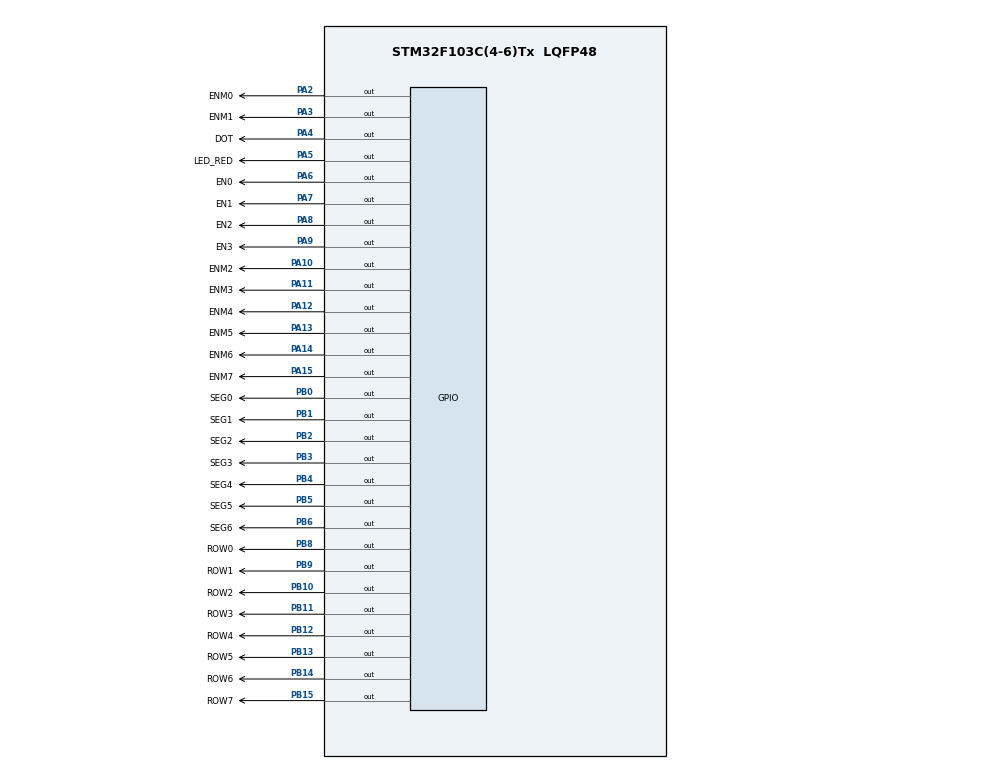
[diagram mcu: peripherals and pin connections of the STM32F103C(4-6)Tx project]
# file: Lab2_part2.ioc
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Mcu.Family=STM32F1
Mcu.Name=STM32F103C(4-6)Tx
Mcu.Package=LQFP48
NVIC.PriorityGroup=NVIC_PRIORITYGROUP_4
NVIC.TIM2_IRQn=true\:0\:0\:false\:false\:true\:true\:true
PA10.GPIO_Label=ENM2
PA10.Signal=GPIO_Output
PA11.GPIO_Label=ENM3
PA11.Signal=GPIO_Output
PA12.GPIO_Label=ENM4
PA12.Signal=GPIO_Output
PA13.GPIO_Label=ENM5
PA13.Signal=GPIO_Output
PA14.GPIO_Label=ENM6
PA14.Signal=GPIO_Output
PA15.GPIO_Label=ENM7
PA15.Signal=GPIO_Output
PA2.GPIO_Label=ENM0
PA2.Signal=GPIO_Output
PA3.GPIO_Label=ENM1
PA3.Signal=GPIO_Output
PA4.GPIO_Label=DOT
PA4.Signal=GPIO_Output
PA5.GPIO_Label=LED_RED
PA5.Signal=GPIO_Output
PA6.GPIO_Label=EN0
PA6.Signal=GPIO_Output
PA7.GPIO_Label=EN1
PA7.Signal=GPIO_Output
PA8.GPIO_Label=EN2
PA8.Signal=GPIO_Output
PA9.GPIO_Label=EN3
PA9.Signal=GPIO_Output
PB0.GPIO_Label=SEG0
PB0.Signal=GPIO_Output
PB1.GPIO_Label=SEG1
PB1.Signal=GPIO_Output
PB10.GPIO_Label=ROW2
PB10.Signal=GPIO_Output
PB11.GPIO_Label=ROW3
PB11.Signal=GPIO_Output
PB12.GPIO_Label=ROW4
PB12.Signal=GPIO_Output
PB13.GPIO_Label=ROW5
PB13.Signal=GPIO_Output
PB14.GPIO_Label=ROW6
PB14.Signal=GPIO_Output
PB15.GPIO_Label=ROW7
PB15.Signal=GPIO_Output
PB2.GPIO_Label=SEG2
PB2.Signal=GPIO_Output
PB3.GPIO_Label=SEG3
PB3.Signal=GPIO_Output
PB4.GPIO_Label=SEG4
PB4.Signal=GPIO_Output
PB5.GPIO_Label=SEG5
PB5.Signal=GPIO_Output
PB6.GPIO_Label=SEG6
PB6.Signal=GPIO_Output
PB8.GPIO_Label=ROW0
PB8.Signal=GPIO_Output
PB9.GPIO_Label=ROW1
PB9.Signal=GPIO_Output
ProjectManager.HeapSize=0x200
ProjectManager.StackSize=0x400
ProjectManager.TargetToolchain=STM32CubeIDE
RCC.APB1Freq_Value=8000000
RCC.APB2Freq_Value=8000000
TIM2.Period=9
TIM2.Prescaler=7999
VP_SYS_VS_ND.Mode=No_Debug
VP_TIM2_VS_ClockSourceINT.Mode=Internal
board=custom

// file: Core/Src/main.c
/* USER CODE BEGIN Header */
/**
  ******************************************************************************
  * @file           : main.c
  * @brief          : Main program body
  ******************************************************************************
  * @attention
  *
  * <h2><center>&copy; Copyright (c) 2026 STMicroelectronics.
  * All rights reserved.</center></h2>
  *
  * This software component is licensed by ST under BSD 3-Clause license,
  * the "License"; You may not use this file except in compliance with the
  * License. You may obtain a copy of the License at:
  *                        opensource.org/licenses/BSD-3-Clause
  *
  ******************************************************************************
  */
/* USER CODE END Header */
#include "main.h"

/* USER CODE BEGIN PD */
/* ===== Chọn bài demo: 9 (chữ "A" đứng yên) hoặc 10 (chữ "A" dịch trái) ===== */
#define EXERCISE          10

#define TIMER_CYCLE       10    // TIM2: 8MHz/(7999+1)/(9+1) = 100Hz -> ngắt mỗi 10ms
#define NUM_TIMERS        6     // số software timer

/* Chỉ số software timer */
#define T_CLOCK           0     // 1000ms: đếm giây + nháy DOT (Ex7)
#define T_SCAN_7SEG       1     // quét 7-seg (Ex8)
#define T_SCAN_MATRIX     2     // quét LED matrix (Ex9)
#define T_SHIFT           3     // dịch chữ (Ex10)
#define T_LED_RED         4     // ví dụ Program 1.8 (Ex6)
#define T_SELFTEST        5     // chế độ dò phân cực matrix

#define SCAN_7SEG_MS      250   // 4 LED x 250ms = 1s -> quét 1Hz như Ex4
#define SCAN_MATRIX_MS    10    // mỗi cột 10ms -> 8 cột = 80ms/khung (đổi thành 200 để xem từng cột sáng lần lượt)
#define SHIFT_MS          200   // Ex10: dịch 1 cột mỗi 200ms

/* ===== CHẾ ĐỘ DÒ PHÂN CỰC MATRIX =====
 * 1: cứ 5 giây đổi 1 tổ hợp phân cực; cả 4 con 7-seg hiện SỐ THỨ TỰ tổ hợp (1..4),
 *    matrix hiện chữ "A" đứng yên. Ghi lại số nào cho ra chữ "A" rõ nhất.
 * 0: chạy bình thường theo cấu hình bên dưới. */
#define MATRIX_SELFTEST   0

/* ===== Cấu hình phân cực LED matrix: chỉnh ở đây nếu hiển thị sai ===== */
#define MATRIX_COL_ON       GPIO_PIN_SET    // ENM mức cao -> ULN2803 dẫn -> kéo chân cột (cathode) xuống thấp -> cột BẬT
#define MATRIX_ROW_ON       GPIO_PIN_SET    // ROW mức cao -> cấp anode -> LED trên hàng đó sáng
#define MATRIX_TRANSPOSE    0               // 1 nếu chữ "A" bị nằm ngang (xoay 90 độ)
#define MATRIX_LINE_REVERSE 0               // 1 nếu chữ "A" bị lộn ngược (đảo thứ tự đường quét ENM)
#define MATRIX_ROW_REVERSE  0               // 1 nếu chữ "A" bị soi gương / chạy sang PHẢI (đảo thứ tự bit dữ liệu)
/* USER CODE END PD */

TIM_HandleTypeDef htim2;

/* USER CODE BEGIN PV */
/* ---------- Software timer (Ex6) ---------- */
volatile int timer_counter[NUM_TIMERS] = {0};
volatile int timer_flag[NUM_TIMERS]    = {0};

/* ---------- 4 LED 7 đoạn + đồng hồ (Ex3, Ex5, Ex7, Ex8) ---------- */
const int MAX_LED = 4;
int index_led = 0;
int led_buffer[4] = {1, 2, 3, 4};
int hour = 15, minute = 8, second = 50;

static GPIO_TypeDef* const SEG_PORT[7] = {SEG0_GPIO_Port, SEG1_GPIO_Port, SEG2_GPIO_Port,
                                          SEG3_GPIO_Port, SEG4_GPIO_Port, SEG5_GPIO_Port, SEG6_GPIO_Port};
static const uint16_t SEG_PIN[7] = {SEG0_Pin, SEG1_Pin, SEG2_Pin, SEG3_Pin, SEG4_Pin, SEG5_Pin, SEG6_Pin};
static GPIO_TypeDef* const EN_PORT[4] = {EN0_GPIO_Port, EN1_GPIO_Port, EN2_GPIO_Port, EN3_GPIO_Port};
static const uint16_t EN_PIN[4] = {EN0_Pin, EN1_Pin, EN2_Pin, EN3_Pin};

/* Mã 7 đoạn: bit0 = a ... bit6 = g, bit = 1 nghĩa là đoạn sáng */
static const uint8_t SEG_CODE[10] = {0x3F, 0x06, 0x5B, 0x4F, 0x66, 0x6D, 0x7D, 0x07, 0x7F, 0x6F};

/* ---------- LED matrix 8x8 (Ex9, Ex10) ---------- */
const int MAX_LED_MATRIX = 8;
GPIO_PinState matrix_col_on = MATRIX_COL_ON;   // mức bật đường quét (ENM)
GPIO_PinState matrix_row_on = MATRIX_ROW_ON;   // mức làm LED sáng (ROW)
int selftest_combo = 0;                        // 0..3 -> hiển thị 1..4
int index_led_matrix = 0;

/* matrix_buffer[c] = dữ liệu cột c (trái -> phải); bit r = hàng r (bit0 = hàng trên cùng)
 *
 *   . . . # # . . .
 *   . . # . . # . .
 *   . # . . . . # .
 *   . # . . . . # .
 *   . # # # # # # .
 *   . # . . . . # .
 *   . # . . . . # .
 *   . . . . . . . .
 */
uint8_t matrix_buffer[8] = {0x00, 0x7C, 0x12, 0x11, 0x11, 0x12, 0x7C, 0x00};

/* Ex10: khung hình 16 cột = chữ "A" + 8 cột trống, cửa sổ 8 cột trượt sang trái */
static const uint8_t anim_frame[16] = {0x00, 0x7C, 0x12, 0x11, 0x11, 0x12, 0x7C, 0x00,
                                       0x00, 0x00, 0x00, 0x00, 0x00, 0x00, 0x00, 0x00};
int anim_offset = 0;

static GPIO_TypeDef* const ENM_PORT[8] = {ENM0_GPIO_Port, ENM1_GPIO_Port, ENM2_GPIO_Port, ENM3_GPIO_Port,
                                          ENM4_GPIO_Port, ENM5_GPIO_Port, ENM6_GPIO_Port, ENM7_GPIO_Port};
static const uint16_t ENM_PIN[8] = {ENM0_Pin, ENM1_Pin, ENM2_Pin, ENM3_Pin,
                                    ENM4_Pin, ENM5_Pin, ENM6_Pin, ENM7_Pin};
static GPIO_TypeDef* const ROW_PORT[8] = {ROW0_GPIO_Port, ROW1_GPIO_Port, ROW2_GPIO_Port, ROW3_GPIO_Port,
                                          ROW4_GPIO_Port, ROW5_GPIO_Port, ROW6_GPIO_Port, ROW7_GPIO_Port};
static const uint16_t ROW_PIN[8] = {ROW0_Pin, ROW1_Pin, ROW2_Pin, ROW3_Pin,
                                    ROW4_Pin, ROW5_Pin, ROW6_Pin, ROW7_Pin};
/* USER CODE END PV */

void SystemClock_Config(void);
static void MX_GPIO_Init(void);
static void MX_TIM2_Init(void);

/* USER CODE BEGIN 0 */
/* ================= Software timer (Ex6) ================= */
void setTimer(int id, int duration) {
  timer_counter[id] = duration / TIMER_CYCLE;
  timer_flag[id] = 0;
}

/* Gọi trong ngắt mỗi TIMER_CYCLE ms: chỉ đếm, không xử lý gì nặng */
void timer_run(void) {
  for (int i = 0; i < NUM_TIMERS; i++) {
    if (timer_counter[i] > 0) {
      timer_counter[i]--;
      if (timer_counter[i] == 0) timer_flag[i] = 1;
    }
  }
}

/* ================= 7 đoạn ================= */
/* Common anode: đoạn sáng khi chân SEG ở mức THẤP */
void display7SEG(int num) {
  if (num < 0 || num > 9) num = 0;
  uint8_t code = SEG_CODE[num];
  for (int i = 0; i < 7; i++) {
    HAL_GPIO_WritePin(SEG_PORT[i], SEG_PIN[i],
                      ((code >> i) & 1) ? GPIO_PIN_RESET : GPIO_PIN_SET);
  }
}

static void disableAll7SEG(void) {
  for (int i = 0; i < 4; i++) {
    HAL_GPIO_WritePin(EN_PORT[i], EN_PIN[i], GPIO_PIN_SET);  // PNP tắt khi EN ở mức CAO
  }
}

void update7SEG(int index) {
  disableAll7SEG();
  switch (index) {
    case 0:
      display7SEG(led_buffer[0]);
      HAL_GPIO_WritePin(EN0_GPIO_Port, EN0_Pin, GPIO_PIN_RESET);
      break;
    case 1:
      display7SEG(led_buffer[1]);
      HAL_GPIO_WritePin(EN1_GPIO_Port, EN1_Pin, GPIO_PIN_RESET);
      break;
    case 2:
      display7SEG(led_buffer[2]);
      HAL_GPIO_WritePin(EN2_GPIO_Port, EN2_Pin, GPIO_PIN_RESET);
      break;
    case 3:
      display7SEG(led_buffer[3]);
      HAL_GPIO_WritePin(EN3_GPIO_Port, EN3_Pin, GPIO_PIN_RESET);
      break;
    default:
      break;
  }
}

void updateClockBuffer(void) {
  led_buffer[0] = hour / 10;
  led_buffer[1] = hour % 10;
  led_buffer[2] = minute / 10;
  led_buffer[3] = minute % 10;
}

/* ================= LED matrix (Ex9) ================= */
static void matrixAllOff(void) {
  GPIO_PinState colOff = (matrix_col_on == GPIO_PIN_SET) ? GPIO_PIN_RESET : GPIO_PIN_SET;
  for (int i = 0; i < 8; i++) {
    HAL_GPIO_WritePin(ENM_PORT[i], ENM_PIN[i], colOff);
  }
}

/* Dữ liệu cho đường quét thứ k (có hỗ trợ xoay 90 độ nếu matrix nối ngược hàng/cột) */
static uint8_t getLineData(int k) {
#if MATRIX_TRANSPOSE
  uint8_t d = 0;
  for (int j = 0; j < 8; j++) {
    if ((matrix_buffer[j] >> k) & 1) d |= (uint8_t)(1 << j);
  }
  return d;
#else
  return matrix_buffer[k];
#endif
}

/* Bật duy nhất cột index, xuất dữ liệu cột đó ra 8 đường ROW */
void updateLEDMatrix(int index) {
  if (index < 0 || index >= MAX_LED_MATRIX) return;
  GPIO_PinState rowOff = (matrix_row_on == GPIO_PIN_SET) ? GPIO_PIN_RESET : GPIO_PIN_SET;

  int line = MATRIX_LINE_REVERSE ? (7 - index) : index;  // đường ENM thật sẽ bật

  matrixAllOff();                       // 1. tắt hết đường quét để không bị bóng mờ
  uint8_t data = getLineData(index);
  for (int r = 0; r < 8; r++) {         // 2. xuất dữ liệu ra 8 đường ROW
    int pin = MATRIX_ROW_REVERSE ? (7 - r) : r;
    HAL_GPIO_WritePin(ROW_PORT[pin], ROW_PIN[pin], ((data >> r) & 1) ? matrix_row_on : rowOff);
  }
  HAL_GPIO_WritePin(ENM_PORT[line], ENM_PIN[line], matrix_col_on);    // 3. bật đường quét
}

/* ================= Animation (Ex10) ================= */
/* Cửa sổ 8 cột trượt trên khung 16 cột -> chữ "A" chạy sang trái rồi quay vòng */
void shiftLeftAnimation(void) {
  for (int i = 0; i < 8; i++) {
    matrix_buffer[i] = anim_frame[(i + anim_offset) % 16];
  }
  anim_offset = (anim_offset + 1) % 16;
}

/* ================= Dò phân cực matrix ================= */
/* Tổ hợp: 1 = ENM thấp/ROW thấp, 2 = ENM cao/ROW cao, 3 = ENM thấp/ROW cao, 4 = ENM cao/ROW thấp */
void applySelftestCombo(int combo) {
  static const GPIO_PinState COL[4] = {GPIO_PIN_RESET, GPIO_PIN_SET, GPIO_PIN_RESET, GPIO_PIN_SET};
  static const GPIO_PinState ROW[4] = {GPIO_PIN_RESET, GPIO_PIN_SET, GPIO_PIN_SET,   GPIO_PIN_RESET};
  matrix_col_on = COL[combo];
  matrix_row_on = ROW[combo];
  for (int i = 0; i < 4; i++) led_buffer[i] = combo + 1;
}
/* USER CODE END 0 */

int main(void)
{

  /* MCU Configuration--------------------------------------------------------*/

  /* Reset of all peripherals, Initializes the Flash interface and the Systick. */
  HAL_Init();

  /* Configure the system clock */
  SystemClock_Config();

  /* Initialize all configured peripherals */
  MX_GPIO_Init();
  MX_TIM2_Init();
  /* USER CODE BEGIN 2 */
  disableAll7SEG();
#if MATRIX_SELFTEST
  applySelftestCombo(0);
  setTimer(T_SELFTEST, 5000);
#else
  updateClockBuffer();
#if EXERCISE == 10
  shiftLeftAnimation();
#endif
#endif
  matrixAllOff();

  setTimer(T_CLOCK, 1000);
  setTimer(T_SCAN_7SEG, SCAN_7SEG_MS);
  setTimer(T_SCAN_MATRIX, SCAN_MATRIX_MS);
  setTimer(T_SHIFT, SHIFT_MS);
  setTimer(T_LED_RED, 1000);             // Program 1.8 (Ex6)

  HAL_TIM_Base_Start_IT(&htim2);
  /* USER CODE END 2 */

  /* Infinite loop */
  while (1)
  {

    /* USER CODE BEGIN 3 */
    /* Ex7: đồng hồ + DOT chạy bằng software timer, không còn HAL_Delay */
    if (timer_flag[T_CLOCK] == 1) {
      setTimer(T_CLOCK, 1000);
      second++;
      if (second >= 60) { second = 0; minute++; }
      if (minute >= 60) { minute = 0; hour++; }
      if (hour >= 24)   { hour = 0; }
#if !MATRIX_SELFTEST
      updateClockBuffer();
#endif
      HAL_GPIO_TogglePin(DOT_GPIO_Port, DOT_Pin);
    }

    /* Ex8: quét 7-seg chuyển từ ngắt về main */
    if (timer_flag[T_SCAN_7SEG] == 1) {
      setTimer(T_SCAN_7SEG, SCAN_7SEG_MS);
      update7SEG(index_led++);
      if (index_led >= MAX_LED) index_led = 0;
    }

    /* Ex9: quét LED matrix trong main */
    if (timer_flag[T_SCAN_MATRIX] == 1) {
      setTimer(T_SCAN_MATRIX, SCAN_MATRIX_MS);
      updateLEDMatrix(index_led_matrix++);
      if (index_led_matrix >= MAX_LED_MATRIX) index_led_matrix = 0;
    }

#if MATRIX_SELFTEST
    if (timer_flag[T_SELFTEST] == 1) {
      setTimer(T_SELFTEST, 5000);
      selftest_combo = (selftest_combo + 1) % 4;
      matrixAllOff();                       // tắt theo phân cực cũ trước khi đổi
      applySelftestCombo(selftest_combo);
    }
#elif EXERCISE == 10
    /* Ex10: dịch chữ sang trái */
    if (timer_flag[T_SHIFT] == 1) {
      setTimer(T_SHIFT, SHIFT_MS);
      shiftLeftAnimation();
    }
#endif

    /* Ex6: ví dụ Program 1.8 - LED đỏ PA5 */
    if (timer_flag[T_LED_RED] == 1) {
      HAL_GPIO_TogglePin(LED_RED_GPIO_Port, LED_RED_Pin);
      setTimer(T_LED_RED, 2000);
    }
  }
  /* USER CODE END 3 */
}

void SystemClock_Config(void)
{
  RCC_OscInitTypeDef RCC_OscInitStruct = {0};
  RCC_ClkInitTypeDef RCC_ClkInitStruct = {0};

  /** Initializes the RCC Oscillators according to the specified parameters
  * in the RCC_OscInitTypeDef structure.
  */
  RCC_OscInitStruct.OscillatorType = RCC_OSCILLATORTYPE_HSI;
  RCC_OscInitStruct.HSIState = RCC_HSI_ON;
  RCC_OscInitStruct.HSICalibrationValue = RCC_HSICALIBRATION_DEFAULT;
  RCC_OscInitStruct.PLL.PLLState = RCC_PLL_NONE;
  if (HAL_RCC_OscConfig(&RCC_OscInitStruct) != HAL_OK)
  {
    Error_Handler();
  }
  /** Initializes the CPU, AHB and APB buses clocks
  */
  RCC_ClkInitStruct.ClockType = RCC_CLOCKTYPE_HCLK|RCC_CLOCKTYPE_SYSCLK
                              |RCC_CLOCKTYPE_PCLK1|RCC_CLOCKTYPE_PCLK2;
  RCC_ClkInitStruct.SYSCLKSource = RCC_SYSCLKSOURCE_HSI;
  RCC_ClkInitStruct.AHBCLKDivider = RCC_SYSCLK_DIV1;
  RCC_ClkInitStruct.APB1CLKDivider = RCC_HCLK_DIV1;
  RCC_ClkInitStruct.APB2CLKDivider = RCC_HCLK_DIV1;

  if (HAL_RCC_ClockConfig(&RCC_ClkInitStruct, FLASH_LATENCY_0) != HAL_OK)
  {
    Error_Handler();
  }
}

static void MX_TIM2_Init(void)
{

  TIM_ClockConfigTypeDef sClockSourceConfig = {0};
  TIM_MasterConfigTypeDef sMasterConfig = {0};

  htim2.Instance = TIM2;
  htim2.Init.Prescaler = 7999;
  htim2.Init.CounterMode = TIM_COUNTERMODE_UP;
  htim2.Init.Period = 9;
  htim2.Init.ClockDivision = TIM_CLOCKDIVISION_DIV1;
  htim2.Init.AutoReloadPreload = TIM_AUTORELOAD_PRELOAD_DISABLE;
  if (HAL_TIM_Base_Init(&htim2) != HAL_OK)
  {
    Error_Handler();
  }
  sClockSourceConfig.ClockSource = TIM_CLOCKSOURCE_INTERNAL;
  if (HAL_TIM_ConfigClockSource(&htim2, &sClockSourceConfig) != HAL_OK)
  {
    Error_Handler();
  }
  sMasterConfig.MasterOutputTrigger = TIM_TRGO_RESET;
  sMasterConfig.MasterSlaveMode = TIM_MASTERSLAVEMODE_DISABLE;
  if (HAL_TIMEx_MasterConfigSynchronization(&htim2, &sMasterConfig) != HAL_OK)
  {
    Error_Handler();
  }

}

static void MX_GPIO_Init(void)
{
  GPIO_InitTypeDef GPIO_InitStruct = {0};

  /* GPIO Ports Clock Enable */
  __HAL_RCC_GPIOA_CLK_ENABLE();
  __HAL_RCC_GPIOB_CLK_ENABLE();

  /*Configure GPIO pin Output Level */
  HAL_GPIO_WritePin(GPIOA, ENM0_Pin|ENM1_Pin|DOT_Pin|LED_RED_Pin
                          |EN0_Pin|EN1_Pin|EN2_Pin|EN3_Pin
                          |ENM2_Pin|ENM3_Pin|ENM4_Pin|ENM5_Pin
                          |ENM6_Pin|ENM7_Pin, GPIO_PIN_RESET);

  /*Configure GPIO pin Output Level */
  HAL_GPIO_WritePin(GPIOB, SEG0_Pin|SEG1_Pin|SEG2_Pin|ROW2_Pin
                          |ROW3_Pin|ROW4_Pin|ROW5_Pin|ROW6_Pin
                          |ROW7_Pin|SEG3_Pin|SEG4_Pin|SEG5_Pin
                          |SEG6_Pin|ROW0_Pin|ROW1_Pin, GPIO_PIN_RESET);

  /*Configure GPIO pins : ENM0_Pin ENM1_Pin DOT_Pin LED_RED_Pin
                           EN0_Pin EN1_Pin EN2_Pin EN3_Pin
                           ENM2_Pin ENM3_Pin ENM4_Pin ENM5_Pin
                           ENM6_Pin ENM7_Pin */
  GPIO_InitStruct.Pin = ENM0_Pin|ENM1_Pin|DOT_Pin|LED_RED_Pin
                          |EN0_Pin|EN1_Pin|EN2_Pin|EN3_Pin
                          |ENM2_Pin|ENM3_Pin|ENM4_Pin|ENM5_Pin
                          |ENM6_Pin|ENM7_Pin;
  GPIO_InitStruct.Mode = GPIO_MODE_OUTPUT_PP;
  GPIO_InitStruct.Pull = GPIO_NOPULL;
  GPIO_InitStruct.Speed = GPIO_SPEED_FREQ_LOW;
  HAL_GPIO_Init(GPIOA, &GPIO_InitStruct);

  /*Configure GPIO pins : SEG0_Pin SEG1_Pin SEG2_Pin ROW2_Pin
                           ROW3_Pin ROW4_Pin ROW5_Pin ROW6_Pin
                           ROW7_Pin SEG3_Pin SEG4_Pin SEG5_Pin
                           SEG6_Pin ROW0_Pin ROW1_Pin */
  GPIO_InitStruct.Pin = SEG0_Pin|SEG1_Pin|SEG2_Pin|ROW2_Pin
                          |ROW3_Pin|ROW4_Pin|ROW5_Pin|ROW6_Pin
                          |ROW7_Pin|SEG3_Pin|SEG4_Pin|SEG5_Pin
                          |SEG6_Pin|ROW0_Pin|ROW1_Pin;
  GPIO_InitStruct.Mode = GPIO_MODE_OUTPUT_PP;
  GPIO_InitStruct.Pull = GPIO_NOPULL;
  GPIO_InitStruct.Speed = GPIO_SPEED_FREQ_LOW;
  HAL_GPIO_Init(GPIOB, &GPIO_InitStruct);

}

/* USER CODE BEGIN 4 */
/* Ex8: ngắt chỉ còn chạy software timer */
void HAL_TIM_PeriodElapsedCallback(TIM_HandleTypeDef *htim) {
  if (htim->Instance == TIM2) {
    timer_run();
  }
}
/* USER CODE END 4 */

void Error_Handler(void)
{
  __disable_irq();
  while (1)
  {
  }
}

/************************ (C) COPYRIGHT STMicroelectronics *****END OF FILE****/
